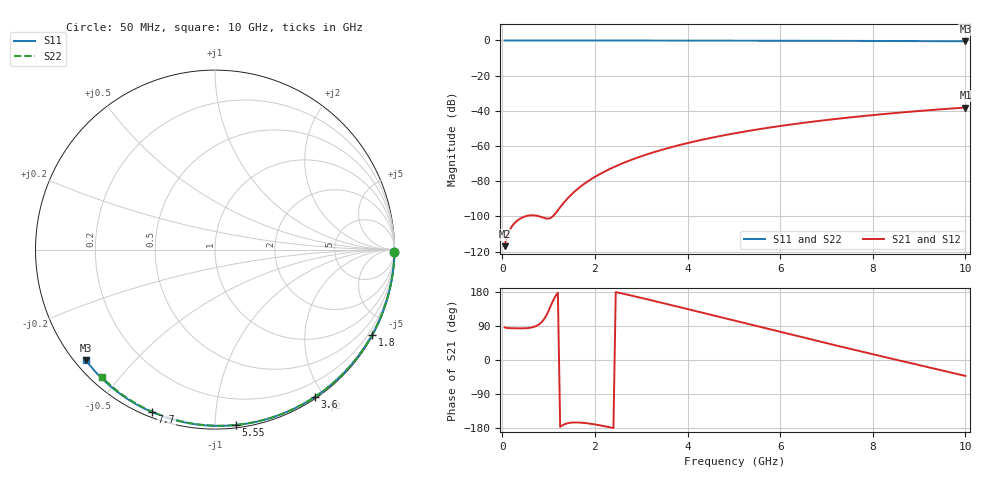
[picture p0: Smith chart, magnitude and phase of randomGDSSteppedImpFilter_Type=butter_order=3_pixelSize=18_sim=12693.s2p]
! freq	dB(S11)	phase(S11)	dB(S12)	phase(S12)
!  dB(S21)	phase(S21)	dB(S22)	phase(S22)
!S-par simulation data
#  GHz  S  DB  R 50
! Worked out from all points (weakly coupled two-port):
!   200 points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, 50 MHz to 10 GHz, reference 50 ohm
!   highest |S21| = -38.11 dB at 10 GHz (marker M1); lowest = -116.9 dB at 50 MHz (marker M2)
!   lowest |S11| = -0.5 dB at 10 GHz (marker M3), VSWR 36.87, Z = 1.54 - j18.5 ohm
!   |S11| at or under -10 dB: nowhere
!   |S22| runs from -0.4 to 0.0 dB; largest |S21 - S12| = 0
!   S11 on the Smith chart (normalised r, x): 50 MHz: open; 1.8 GHz: 0.03, -3.92; 3.6 GHz: 0.02, -1.89; 5.55 GHz: 0.02, -1.12; 7.7 GHz: 0.02, -0.68; 10 GHz: 0.03, -0.37
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0.05  -0.00 -0.8  -116.89 86.1  -116.89 86.1  -0.00 -0.8
0.45  -0.01 -7.3  -100.40 83.5  -100.40 83.5  -0.01 -6.8
0.9  -0.02 -14.4  -100.84 107.4  -100.84 107.4  -0.02 -13.6
1.75  -0.04 -27.8  -81.84 -165.9  -81.84 -165.9  -0.03 -26.2
1.8  -0.04 -28.6  -80.89 -166.5  -80.89 -166.5  -0.03 -27.0
1.85  -0.04 -29.4  -80.00 -167.3  -80.00 -167.3  -0.04 -27.7
2  -0.04 -31.7  -77.52 -170.0  -77.52 -170.0  -0.04 -29.9
2.15  -0.04 -34.0  -75.30 -173.3  -75.30 -173.3  -0.04 -32.1
2.35  -0.05 -37.1  -72.66 -178.2  -72.66 -178.2  -0.04 -35.0
2.55  -0.05 -40.2  -70.32 176.5  -70.32 176.5  -0.05 -37.9
2.95  -0.06 -46.2  -66.28 165.4  -66.28 165.4  -0.06 -43.6
3.4  -0.07 -52.9  -62.49 152.3  -62.49 152.3  -0.07 -49.9
3.6  -0.08 -55.9  -61.01 146.3  -61.01 146.3  -0.07 -52.7
4.3  -0.09 -66.0  -56.51 125.3  -56.51 125.3  -0.09 -62.3
5.05  -0.12 -76.5  -52.61 102.7  -52.61 102.7  -0.11 -72.2
5.55  -0.14 -83.3  -50.39 87.7  -50.39 87.7  -0.13 -78.7
6.1  -0.16 -90.7  -48.23 71.2  -48.23 71.2  -0.15 -85.7
6.7  -0.19 -98.5  -46.15 53.4  -46.15 53.4  -0.18 -93.1
7.7  -0.25 -111.2  -43.20 24.0  -43.20 24.0  -0.24 -105.1
8.35  -0.31 -119.3  -41.55 5.2  -41.55 5.2  -0.29 -112.7
9.2  -0.38 -129.7  -39.66 -19.2  -39.66 -19.2  -0.36 -122.4
10  -0.47 -139.4  -38.11 -41.9  -38.11 -41.9  -0.44 -131.5
